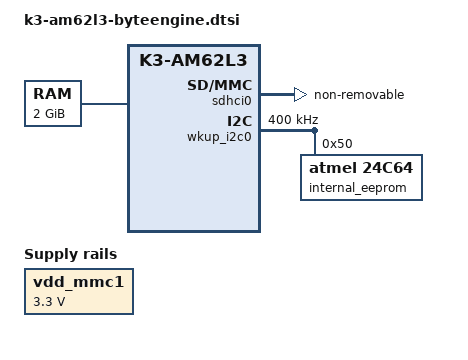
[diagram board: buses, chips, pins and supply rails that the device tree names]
// SPDX-License-Identifier: GPL-2.0-only or MIT
/*
 * Copyright (C) 2026 bytesatwork AG - https://www.bytesatwork.io
 *
 * Based on dts/upstream/src/arm64/ti/k3-am62l3-evm.dts
 * Copyright (C) 2025 Texas Instruments Incorporated - https://www.ti.com/
 */

#include <dt-bindings/gpio/gpio.h>
#include <dt-bindings/input/input.h>
#include <dt-bindings/leds/common.h>
#include <dt-bindings/net/ti-dp83867.h>
#include <dt-bindings/thermal/thermal.h>

#include "k3-am62l3.dtsi"
#include "k3-pinctrl.h"

/ {
	aliases {
		mmc0 = &sdhci0;
	};

	memory@80000000 {
		reg = <0x00000000 0x80000000 0x00000000 0x80000000>;
		device_type = "memory";
		bootph-all;
	};

	vdd_mmc1: regulator-2 {
		/* TPS22918DBVR */
		compatible = "regulator-fixed";
		regulator-name = "vdd_mmc1";
		regulator-min-microvolt = <3300000>;
		regulator-max-microvolt = <3300000>;
		regulator-boot-on;
		bootph-all;
	};

	thermal-zones {
		wkup0-thermal {
			polling-delay-passive = <250>;	/* milliSeconds */
			polling-delay = <500>;		/* milliSeconds */
			thermal-sensors = <&vtm0 0>;

			trips {
				crit0 {
					temperature = <125000>;
					hysteresis = <2000>;
					type = "critical";
				};
			};
		};
	};
};

&pmx0 {
	mmc0_pins_default: mmc0-default-pins {
		pinctrl-single,pins = <
			AM62LX_IOPAD(0x0214, PIN_INPUT, 0) /* (D2) MMC0_CMD */
			AM62LX_IOPAD(0x020c, PIN_OUTPUT, 0) /* (B2) MMC0_CLK */
			AM62LX_IOPAD(0x0208, PIN_INPUT, 0) /* (D3) MMC0_DAT0 */
			AM62LX_IOPAD(0x0204, PIN_INPUT_PULLUP, 0) /* (D4) MMC0_DAT1 */
			AM62LX_IOPAD(0x0200, PIN_INPUT_PULLUP, 0) /* (C1) MMC0_DAT2 */
			AM62LX_IOPAD(0x01fc, PIN_INPUT_PULLUP, 0) /* (C2) MMC0_DAT3 */
			AM62LX_IOPAD(0x01f8, PIN_INPUT_PULLUP, 0) /* (C4) MMC0_DAT4 */
			AM62LX_IOPAD(0x01f4, PIN_INPUT_PULLUP, 0) /* (B3) MMC0_DAT5 */
			AM62LX_IOPAD(0x01f0, PIN_INPUT_PULLUP, 0) /* (A3) MMC0_DAT6 */
			AM62LX_IOPAD(0x01ec, PIN_INPUT_PULLUP, 0) /* (B4) MMC0_DAT7 */
		>;
		bootph-all;
	};

	wkup_i2c0_default_pins: wkup-i2c0-default-pins {
		pinctrl-single,pins = <
			AM62LX_IOPAD(0x0010, PIN_INPUT_PULLUP, 0) /* (AB22) WKUP_I2C0_SCL */
			AM62LX_IOPAD(0x0014, PIN_INPUT_PULLUP, 0) /* (AA22) WKUP_I2C0_SDA */
		>;
	};
};

&sdhci0 {
	/* eMMC */
	pinctrl-names = "default";
	pinctrl-0 = <&mmc0_pins_default>;
	non-removable;
	status = "okay";
	bootph-all;
};

&wkup_i2c0 {
	clock-frequency = <400000>;
	pinctrl-names = "default";
	pinctrl-0 = <&wkup_i2c0_default_pins>;
	status = "okay";

	internal_eeprom: eeprom@50 {
		bootph-pre-ram;
		compatible = "atmel,24c64";
		reg = <0x50>;
		size = <0x2000>; /* 8 KiB */
		pagesize = <32>;
	};
};
